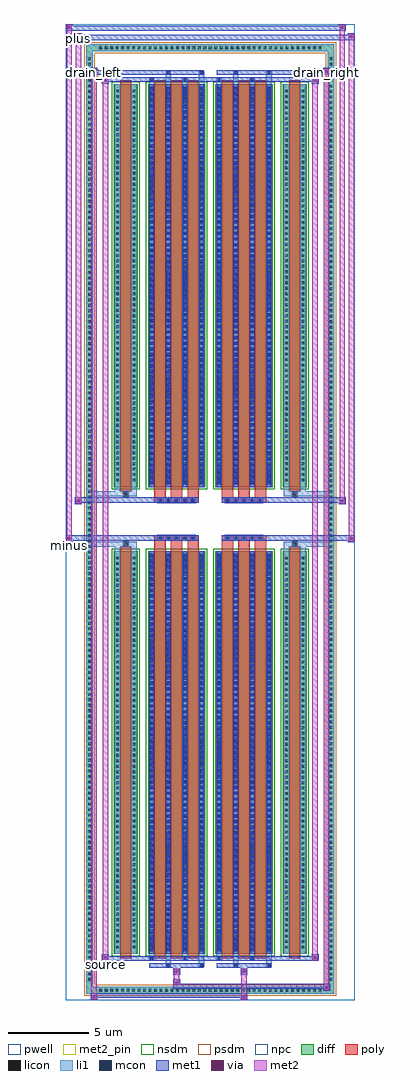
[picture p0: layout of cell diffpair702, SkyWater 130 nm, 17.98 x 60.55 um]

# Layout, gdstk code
import gdstk
lib = gdstk.Library(unit=1e-6, precision=5e-09)
def R(c, l, rs):  # rectangles x0, y0, x1, y1
    for r in rs: c.add(gdstk.rectangle(r[:2], r[2:], *l))
def A(c, l, x, y, w, h, nx, ny, dx, dy):  # array of equal rectangles
    R(c, l, [(x+i*dx, y+j*dy, x+i*dx+w, y+j*dy+h) for i in range(nx) for j in range(ny)])
def P(c, l, *ps):  # polygons
    for p in ps: c.add(gdstk.Polygon(p, *l))
pwell = (64, 44)
diff = (65, 20)
poly = (66, 20)
licon = (66, 44)
li1 = (67, 20)
mcon = (67, 44)
met1 = (68, 20)
via = (68, 44)
met2_pin = (69, 16)
met2 = (69, 20)
nsdm = (93, 44)
psdm = (94, 20)
npc = (95, 20)

diffpair702 = lib.new_cell('diffpair702')
R(diffpair702, pwell, [(-8.97,-29.84,8.97,30.71), (-6.29,-28.03,-0.01,-0.805), (0.01,-28.03,6.29,-0.805), (-6.29,0.805,-0.01,28.03), (0.01,0.805,6.29,28.03)])
A(diffpair702, diff, -7.005, -29.44, 0.41, 0.41, 41, 2, 0.34, 58.47)
A(diffpair702, diff, -7.7, -28.765, 0.41, 0.41, 1, 169, 0, 0.34)
A(diffpair702, diff, 7.29, -28.765, 0.41, 0.41, 1, 169, 0, 0.34)
R(diffpair702, diff, [(-7.005,-29.44,7.005,-29.03), (-7.7,-28.765,-7.29,28.765), (7.29,-28.765,7.7,28.765), (-5.98,-26.985,-4.5,-1.985), (-3.86,-26.985,-0.32,-1.985), (0.32,-26.985,3.86,-1.985), (4.5,-26.985,5.98,-1.985), (-5.98,1.985,-4.5,26.985), (-3.86,1.985,-0.32,26.985), (0.32,1.985,3.86,26.985), (4.5,1.985,5.98,26.985), (-7.005,29.03,7.005,29.44)])
P(diffpair702, diff, [(7.7,29.44),(-7.7,29.44),(-7.7,-29.03),(-7.29,-29.03),(-7.29,29.03),(7.29,29.03),(7.29,-29.03),(-7.29,-29.03),(-7.7,-29.03),(-7.7,-29.44),(7.7,-29.44)])
A(diffpair702, poly, -3.47, -27.235, 0.7, 25.5, 3, 2, 1.03, 28.97)
A(diffpair702, poly, 0.71, -27.235, 0.7, 25.5, 3, 2, 1.03, 28.97)
A(diffpair702, poly, -3.47, -1.735, 0.7, 0.4, 3, 2, 1.03, 3.07)
A(diffpair702, poly, 0.71, -1.735, 0.7, 0.4, 3, 2, 1.03, 3.07)
A(diffpair702, poly, -3.255, -1.335, 0.33, 0.33, 5, 2, 0.5, 2.34)
A(diffpair702, poly, 0.925, -1.335, 0.33, 0.33, 5, 2, 0.5, 2.34)
R(diffpair702, poly, [(-5.59,-27.235,-4.89,-1.735), (4.89,-27.235,5.59,-1.735), (-5.405,-1.735,-5.075,-1.405), (-5.405,-1.735,-5.075,-1.405), (5.075,-1.735,5.405,-1.405), (5.075,-1.735,5.405,-1.405), (-3.47,-1.335,-0.71,-1.005), (0.71,-1.335,3.47,-1.005), (-3.47,1.005,-0.71,1.335), (0.71,1.005,3.47,1.335), (-5.405,1.405,-5.075,1.735), (-5.405,1.405,-5.075,1.735), (5.075,1.405,5.405,1.735), (5.075,1.405,5.405,1.735), (-5.59,1.735,-4.89,27.235), (4.89,1.735,5.59,27.235)])
A(diffpair702, licon, -6.885, -29.32, 0.17, 0.17, 41, 2, 0.34, 58.47)
A(diffpair702, licon, -7.58, -28.645, 0.17, 0.17, 1, 169, 0, 0.34)
A(diffpair702, licon, 7.41, -28.645, 0.17, 0.17, 1, 169, 0, 0.34)
A(diffpair702, licon, -5.84, -26.64, 0.17, 0.17, 1, 72, 0, 0.34)
A(diffpair702, licon, -4.81, -26.64, 0.17, 0.17, 1, 72, 0, 0.34)
A(diffpair702, licon, -3.72, -26.64, 0.17, 0.17, 4, 72, 1.03, 0.34)
A(diffpair702, licon, 0.46, -26.64, 0.17, 0.17, 4, 72, 1.03, 0.34)
A(diffpair702, licon, 4.64, -26.64, 0.17, 0.17, 1, 72, 0, 0.34)
A(diffpair702, licon, 5.67, -26.64, 0.17, 0.17, 1, 72, 0, 0.34)
A(diffpair702, licon, -3.175, -1.255, 0.17, 0.17, 5, 2, 0.5, 2.34)
A(diffpair702, licon, 1.005, -1.255, 0.17, 0.17, 5, 2, 0.5, 2.34)
A(diffpair702, licon, -5.84, 2.33, 0.17, 0.17, 1, 72, 0, 0.34)
A(diffpair702, licon, -4.81, 2.33, 0.17, 0.17, 1, 72, 0, 0.34)
A(diffpair702, licon, -3.72, 2.33, 0.17, 0.17, 4, 72, 1.03, 0.34)
A(diffpair702, licon, 0.46, 2.33, 0.17, 0.17, 4, 72, 1.03, 0.34)
A(diffpair702, licon, 4.64, 2.33, 0.17, 0.17, 1, 72, 0, 0.34)
A(diffpair702, licon, 5.67, 2.33, 0.17, 0.17, 1, 72, 0, 0.34)
R(diffpair702, licon, [(-5.325,-1.655,-5.155,-1.485), (5.155,-1.655,5.325,-1.485), (-5.325,1.485,-5.155,1.655), (5.155,1.485,5.325,1.655)])
A(diffpair702, li1, -6.965, -29.4, 0.33, 0.33, 41, 2, 0.34, 58.47)
A(diffpair702, li1, -7.66, -28.725, 0.33, 0.33, 1, 169, 0, 0.34)
A(diffpair702, li1, 7.33, -28.725, 0.33, 0.33, 1, 169, 0, 0.34)
A(diffpair702, li1, -3.8, -26.985, 0.33, 25, 4, 2, 1.03, 28.97)
A(diffpair702, li1, 0.38, -26.985, 0.33, 25, 4, 2, 1.03, 28.97)
A(diffpair702, li1, -3.72, -26.81, 0.17, 0.17, 4, 69, 1.03, 0.36)
A(diffpair702, li1, -3.72, -26.81, 0.17, 24.65, 4, 2, 1.03, 28.97)
A(diffpair702, li1, 0.46, -26.81, 0.17, 0.17, 4, 69, 1.03, 0.36)
A(diffpair702, li1, 0.46, -26.81, 0.17, 24.65, 4, 2, 1.03, 28.97)
A(diffpair702, li1, -5.92, -26.72, 0.33, 0.33, 1, 72, 0, 0.34)
A(diffpair702, li1, -4.89, -26.72, 0.33, 0.33, 1, 72, 0, 0.34)
A(diffpair702, li1, -3.8, -26.72, 0.33, 0.33, 4, 72, 1.03, 0.34)
A(diffpair702, li1, 0.38, -26.72, 0.33, 0.33, 4, 72, 1.03, 0.34)
A(diffpair702, li1, 4.56, -26.72, 0.33, 0.33, 1, 72, 0, 0.34)
A(diffpair702, li1, 5.59, -26.72, 0.33, 0.33, 1, 72, 0, 0.34)
A(diffpair702, li1, -3.255, -1.335, 0.33, 0.33, 5, 2, 0.5, 2.34)
A(diffpair702, li1, 0.925, -1.335, 0.33, 0.33, 5, 2, 0.5, 2.34)
A(diffpair702, li1, -3.72, 2.16, 0.17, 0.17, 4, 69, 1.03, 0.36)
A(diffpair702, li1, 0.46, 2.16, 0.17, 0.17, 4, 69, 1.03, 0.36)
A(diffpair702, li1, -5.92, 2.25, 0.33, 0.33, 1, 72, 0, 0.34)
A(diffpair702, li1, -4.89, 2.25, 0.33, 0.33, 1, 72, 0, 0.34)
A(diffpair702, li1, -3.8, 2.25, 0.33, 0.33, 4, 72, 1.03, 0.34)
A(diffpair702, li1, 0.38, 2.25, 0.33, 0.33, 4, 72, 1.03, 0.34)
A(diffpair702, li1, 4.56, 2.25, 0.33, 0.33, 1, 72, 0, 0.34)
A(diffpair702, li1, 5.59, 2.25, 0.33, 0.33, 1, 72, 0, 0.34)
R(diffpair702, li1, [(-7.7,-29.44,-7.29,-29.03), (-7.7,-29.44,-7.29,-29.03), (-7.29,-29.44,7.29,-29.03), (7.29,-29.44,7.7,-29.03), (7.29,-29.44,7.7,-29.03), (-7.7,-29.03,-7.29,29.03), (7.29,-29.03,7.7,29.03), (-2.77,-27.79,-2.44,-26.985), (-2.69,-27.79,-2.52,-27.62), (-0.71,-27.79,-0.38,-26.985), (-0.63,-27.79,-0.46,-27.62), (1.41,-27.79,1.74,-26.985), (1.49,-27.79,1.66,-27.62), (3.47,-27.79,3.8,-26.985), (3.55,-27.79,3.72,-27.62), (-3.8,-27.36,-3.47,-26.985), (-3.72,-27.36,-3.55,-27.19), (-1.74,-27.36,-1.41,-26.985), (-1.66,-27.36,-1.49,-27.19), (0.38,-27.36,0.71,-26.985), (0.46,-27.36,0.63,-27.19), (2.44,-27.36,2.77,-26.985), (2.52,-27.36,2.69,-27.19), (-5.92,-26.985,-5.59,-1.985), (-4.89,-26.985,-4.56,-1.985), (4.56,-26.985,4.89,-1.985), (5.59,-26.985,5.92,-1.985), (-5.92,-1.985,-5.59,-1.405), (-4.89,-1.985,-4.56,-1.405), (4.56,-1.985,4.89,-1.405), (5.59,-1.985,5.92,-1.405), (-7.7,-1.735,-5.405,-1.405), (-5.92,-1.735,-5.405,-1.405), (-5.405,-1.735,-5.075,-1.405), (-5.075,-1.735,-4.56,-1.405), (4.56,-1.735,5.075,-1.405), (5.075,-1.735,5.405,-1.405), (5.075,-1.735,7.7,-1.405), (5.405,-1.735,5.92,-1.405), (-7.7,1.405,-5.405,1.735), (-5.92,1.405,-5.405,1.735), (-5.92,1.405,-5.59,1.985), (-5.405,1.405,-5.075,1.735), (-5.075,1.405,-4.56,1.735), (-4.89,1.405,-4.56,1.985), (4.56,1.405,5.075,1.735), (4.56,1.405,4.89,1.985), (5.075,1.405,5.405,1.735), (5.075,1.405,7.7,1.735), (5.405,1.405,5.92,1.735), (5.59,1.405,5.92,1.985), (-5.92,1.985,-5.59,26.985), (-4.89,1.985,-4.56,26.985), (4.56,1.985,4.89,26.985), (5.59,1.985,5.92,26.985), (-3.8,26.985,-3.47,27.36), (-2.77,26.985,-2.44,27.79), (-1.74,26.985,-1.41,27.36), (-0.71,26.985,-0.38,27.79), (0.38,26.985,0.71,27.36), (1.41,26.985,1.74,27.79), (2.44,26.985,2.77,27.36), (3.47,26.985,3.8,27.79), (-3.72,27.19,-3.55,27.36), (-1.66,27.19,-1.49,27.36), (0.46,27.19,0.63,27.36), (2.52,27.19,2.69,27.36), (-2.69,27.62,-2.52,27.79), (-0.63,27.62,-0.46,27.79), (1.49,27.62,1.66,27.79), (3.55,27.62,3.72,27.79), (-7.7,29.03,-7.29,29.44), (-7.7,29.03,-7.29,29.44), (-7.29,29.03,7.29,29.44), (7.29,29.03,7.7,29.44), (7.29,29.03,7.7,29.44)])
A(diffpair702, mcon, -3.72, -26.81, 0.17, 0.17, 4, 69, 1.03, 0.36)
A(diffpair702, mcon, 0.46, -26.81, 0.17, 0.17, 4, 69, 1.03, 0.36)
A(diffpair702, mcon, -3.175, -1.255, 0.17, 0.17, 5, 2, 0.5, 2.34)
A(diffpair702, mcon, 1.005, -1.255, 0.17, 0.17, 5, 2, 0.5, 2.34)
A(diffpair702, mcon, -3.72, 2.16, 0.17, 0.17, 4, 69, 1.03, 0.36)
A(diffpair702, mcon, 0.46, 2.16, 0.17, 0.17, 4, 69, 1.03, 0.36)
R(diffpair702, mcon, [(-2.69,-27.79,-2.52,-27.62), (-0.63,-27.79,-0.46,-27.62), (1.49,-27.79,1.66,-27.62), (3.55,-27.79,3.72,-27.62), (-3.72,-27.36,-3.55,-27.19), (-1.66,-27.36,-1.49,-27.19), (0.46,-27.36,0.63,-27.19), (2.52,-27.36,2.69,-27.19), (-3.72,27.19,-3.55,27.36), (-1.66,27.19,-1.49,27.36), (0.46,27.19,0.63,27.36), (2.52,27.19,2.69,27.36), (-2.69,27.62,-2.52,27.79), (-0.63,27.62,-0.46,27.79), (1.49,27.62,1.66,27.79), (3.55,27.62,3.72,27.79)])
A(diffpair702, met1, -3.78, -26.985, 0.29, 25, 4, 2, 1.03, 28.97)
A(diffpair702, met1, 0.4, -26.985, 0.29, 25, 4, 2, 1.03, 28.97)
A(diffpair702, met1, -3.78, -26.87, 0.29, 0.29, 4, 69, 1.03, 0.36)
A(diffpair702, met1, 0.4, -26.87, 0.29, 0.29, 4, 69, 1.03, 0.36)
A(diffpair702, met1, -3.235, -1.315, 0.29, 0.29, 5, 2, 0.5, 2.34)
A(diffpair702, met1, 0.945, -1.315, 0.29, 0.29, 5, 2, 0.5, 2.34)
A(diffpair702, met1, -3.78, 2.1, 0.29, 0.29, 4, 69, 1.03, 0.36)
A(diffpair702, met1, 0.4, 2.1, 0.29, 0.29, 4, 69, 1.03, 0.36)
R(diffpair702, met1, [(-7.43,-29.84,-7,-29.41), (1.875,-29.84,2.305,-29.41), (-7.43,-29.7,2.305,-29.41), (7,-29.27,7.43,-28.84), (-2.305,-29.13,7.43,-28.84), (-2.305,-28.99,-1.875,-28.56), (-2.305,-28.28,-1.875,-27.85), (1.875,-28.28,2.305,-27.85), (-3.78,-27.85,-0.4,-27.56), (-2.75,-27.85,-2.46,-27.56), (-0.69,-27.85,-0.4,-27.56), (0.4,-27.85,3.78,-27.56), (1.43,-27.85,1.72,-27.56), (3.49,-27.85,3.78,-27.56), (-6.72,-27.42,-6.29,-26.99), (-6.72,-27.42,-3.78,-27.13), (-3.78,-27.42,-3.49,-27.13), (-3.78,-27.42,-0.4,-27.13), (-1.72,-27.42,-1.43,-27.13), (-0.4,-27.42,0.4,-27.13), (0.4,-27.42,0.69,-27.13), (0.4,-27.42,3.78,-27.13), (2.46,-27.42,2.75,-27.13), (3.78,-27.42,6.72,-27.13), (6.29,-27.42,6.72,-26.99), (-8.97,-1.435,-8.54,-1.005), (8.54,-1.435,8.97,-1.005), (-8.97,-1.335,-0.71,-1.005), (-3.47,-1.335,-0.71,-1.005), (0.71,-1.335,3.47,-1.005), (0.71,-1.335,8.97,-1.005), (-8.4,0.905,-7.97,1.335), (7.97,0.905,8.4,1.335), (-8.4,1.005,-3.47,1.335), (-3.47,1.005,-0.71,1.335), (0.71,1.005,3.47,1.335), (3.47,1.005,8.4,1.335), (-6.72,26.99,-6.29,27.42), (6.29,26.99,6.72,27.42), (-6.72,27.13,-3.78,27.42), (-3.78,27.13,-3.49,27.42), (-3.78,27.13,-0.4,27.42), (-1.72,27.13,-1.43,27.42), (-0.4,27.13,0.4,27.42), (0.4,27.13,0.69,27.42), (0.4,27.13,3.78,27.42), (2.46,27.13,2.75,27.42), (3.78,27.13,6.72,27.42), (-7.43,27.56,-7,27.99), (-7.43,27.56,-3.78,27.85), (-3.78,27.56,-0.4,27.85), (-2.75,27.56,-2.46,27.85), (-0.69,27.56,-0.4,27.85), (0.4,27.56,3.78,27.85), (1.43,27.56,1.72,27.85), (3.49,27.56,3.78,27.85), (3.78,27.56,7.43,27.85), (7,27.56,7.43,27.99), (-8.4,29.71,-7.97,30.14), (-8.4,29.71,-6.29,30.04), (-6.29,29.71,6.29,30.04), (6.29,29.71,8.97,30.04), (8.54,29.71,8.97,30.14), (-8.97,30.28,-8.54,30.71), (-8.97,30.28,-6.29,30.61), (-6.29,30.28,6.29,30.61), (6.29,30.28,8.4,30.61), (7.97,30.28,8.4,30.71)])
R(diffpair702, via, [(-7.29,-29.7,-7.14,-29.55), (2.015,-29.7,2.165,-29.55), (7.14,-29.13,7.29,-28.98), (-2.165,-28.85,-2.015,-28.7), (-2.165,-28.14,-2.015,-27.99), (2.015,-28.14,2.165,-27.99), (-6.58,-27.28,-6.43,-27.13), (6.43,-27.28,6.58,-27.13), (-8.83,-1.295,-8.68,-1.145), (8.68,-1.295,8.83,-1.145), (-8.26,1.045,-8.11,1.195), (8.11,1.045,8.26,1.195), (-6.58,27.13,-6.43,27.28), (6.43,27.13,6.58,27.28), (-7.29,27.7,-7.14,27.85), (7.14,27.7,7.29,27.85), (-8.26,29.85,-8.11,30), (8.68,29.85,8.83,30), (-8.83,30.42,-8.68,30.57), (8.11,30.42,8.26,30.57)])
R(diffpair702, met2_pin, [(-6.755,-27.87,-6.255,-27.37), (-9.005,-1.885,-8.505,-1.385), (-7.465,27.44,-6.965,27.94), (6.965,27.44,7.465,27.94), (-8.435,29.59,-7.935,30.09)])
R(diffpair702, met2, [(-7.38,-29.79,-7.05,-29.46), (-7.38,-29.79,-7.05,27.94), (1.925,-29.79,2.255,-29.46), (1.925,-29.46,2.255,-28.23), (7.05,-29.22,7.38,-28.89), (7.05,-29.22,7.38,27.94), (-2.255,-28.94,-1.925,-28.61), (-2.255,-28.61,-1.925,-28.23), (-2.255,-28.23,-1.925,-27.9), (1.925,-28.23,2.255,-27.9), (-6.67,-27.37,-6.34,-27.04), (-6.67,-27.37,-6.34,27.37), (6.34,-27.37,6.67,-27.04), (6.34,-27.37,6.67,27.37), (-8.92,-1.385,-8.59,-1.055), (-8.92,-1.385,-8.59,30.66), (8.59,-1.385,8.92,-1.055), (8.59,-1.385,8.92,30.09), (-8.35,0.955,-8.02,1.285), (-8.35,0.955,-8.02,30.09), (8.02,0.955,8.35,1.285), (8.02,0.955,8.35,30.66), (-6.67,27.04,-6.34,27.37), (6.34,27.04,6.67,27.37), (-7.38,27.61,-7.05,27.94), (7.05,27.61,7.38,27.94), (-8.35,29.76,-8.02,30.09), (8.59,29.76,8.92,30.09), (-8.92,30.33,-8.59,30.66), (8.02,30.33,8.35,30.66)])
P(diffpair702, met2, [(8.92,-1.385),(8.92,-1.385),(8.92,-1.055),(8.92,-1.055)],
  [(8.92,29.76),(8.92,29.76),(8.92,30.09),(8.92,30.09)],
  [(-8.59,-1.385),(-8.59,-1.385),(-8.59,-1.055),(-8.59,-1.055)],
  [(-8.59,30.33),(-8.59,30.33),(-8.59,30.66),(-8.59,30.66)],
  [(8.35,0.955),(8.35,0.955),(8.35,1.285),(8.35,1.285)],
  [(8.35,30.33),(8.35,30.33),(8.35,30.66),(8.35,30.66)],
  [(-8.02,0.955),(-8.02,0.955),(-8.02,1.285),(-8.02,1.285)],
  [(-8.02,29.76),(-8.02,29.76),(-8.02,30.09),(-8.02,30.09)],
  [(-7.05,-29.79),(-7.05,-29.79),(-7.05,-29.46),(-7.05,-29.46)],
  [(-7.05,27.61),(-7.05,27.61),(-7.05,27.94),(-7.05,27.94)],
  [(7.38,-29.22),(7.38,-29.22),(7.38,-28.89),(7.38,-28.89)],
  [(7.38,27.61),(7.38,27.61),(7.38,27.94),(7.38,27.94)],
  [(-6.34,-27.37),(-6.34,-27.37),(-6.34,-27.04),(-6.34,-27.04)],
  [(-6.34,27.04),(-6.34,27.04),(-6.34,27.37),(-6.34,27.37)],
  [(6.67,-27.37),(6.67,-27.37),(6.67,-27.04),(6.67,-27.04)],
  [(6.67,27.04),(6.67,27.04),(6.67,27.37),(6.67,27.37)])
R(diffpair702, nsdm, [(-6.11,-27.115,-4.37,-1.855), (-3.99,-27.115,-0.19,-1.855), (0.19,-27.115,3.99,-1.855), (4.37,-27.115,6.11,-1.855), (-6.11,1.855,-4.37,27.115), (-3.99,1.855,-0.19,27.115), (0.19,1.855,3.99,27.115), (4.37,1.855,6.11,27.115)])
P(diffpair702, psdm, [(7.83,29.57),(-7.83,29.57),(-7.83,-28.9),(-7.16,-28.9),(-7.16,28.9),(7.16,28.9),(7.16,-28.9),(-7.16,-28.9),(-7.83,-28.9),(-7.83,-29.57),(7.83,-29.57)])
A(diffpair702, npc, -3.275, -1.355, 0.37, 0.37, 5, 2, 0.5, 2.34)
A(diffpair702, npc, 0.905, -1.355, 0.37, 0.37, 5, 2, 0.5, 2.34)
R(diffpair702, npc, [(-5.425,-1.755,-5.055,-1.385), (5.055,-1.755,5.425,-1.385), (-3.275,-1.355,-2.405,-0.985), (-3.275,-1.355,-2.405,-0.985), (-2.775,-1.355,-1.905,-0.985), (-2.775,-1.355,-1.905,-0.985), (-2.275,-1.355,-1.405,-0.985), (-2.275,-1.355,-1.405,-0.985), (-1.775,-1.355,-0.905,-0.985), (-1.775,-1.355,-0.905,-0.985), (0.905,-1.355,1.775,-0.985), (0.905,-1.355,1.775,-0.985), (1.405,-1.355,2.275,-0.985), (1.405,-1.355,2.275,-0.985), (1.905,-1.355,2.775,-0.985), (1.905,-1.355,2.775,-0.985), (2.405,-1.355,3.275,-0.985), (2.405,-1.355,3.275,-0.985), (-3.275,0.985,-2.405,1.355), (-3.275,0.985,-2.405,1.355), (-2.775,0.985,-1.905,1.355), (-2.775,0.985,-1.905,1.355), (-2.275,0.985,-1.405,1.355), (-2.275,0.985,-1.405,1.355), (-1.775,0.985,-0.905,1.355), (-1.775,0.985,-0.905,1.355), (0.905,0.985,1.775,1.355), (0.905,0.985,1.775,1.355), (1.405,0.985,2.275,1.355), (1.405,0.985,2.275,1.355), (1.905,0.985,2.775,1.355), (1.905,0.985,2.775,1.355), (2.405,0.985,3.275,1.355), (2.405,0.985,3.275,1.355), (-5.425,1.385,-5.055,1.755), (5.055,1.385,5.425,1.755)])
diffpair702.add(gdstk.Label('minus', (-8.755,-1.635), layer=69, texttype=5))
diffpair702.add(gdstk.Label('drain_right', (7.215,27.69), layer=69, texttype=5))
diffpair702.add(gdstk.Label('drain_left', (-7.215,27.69), layer=69, texttype=5))
diffpair702.add(gdstk.Label('source', (-6.505,-27.62), layer=69, texttype=5))
diffpair702.add(gdstk.Label('plus', (-8.185,29.84), layer=69, texttype=5))

lib.write_gds('diffpair702.gds')
